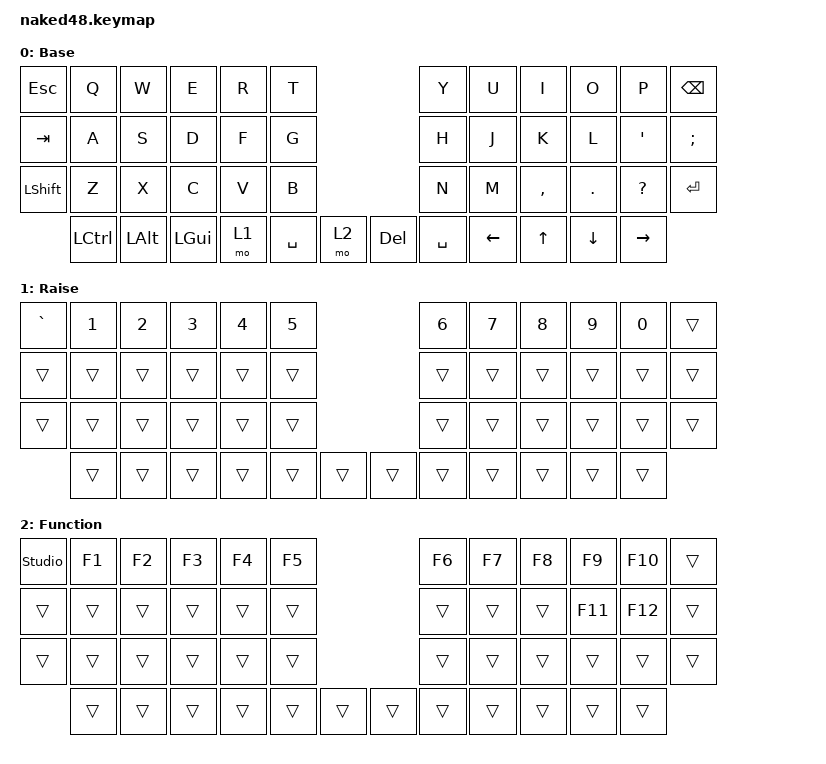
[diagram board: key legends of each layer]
#include <behaviors.dtsi>
#include <dt-bindings/zmk/keys.h>

/ {
    keymap {
        compatible = "zmk,keymap";

        default_layer { //0
            display-name = "Base";
            bindings = <
                &kp ESC   &kp Q     &kp W    &kp E    &kp R &kp T                 &kp Y      &kp U    &kp I     &kp O   &kp P     &kp BSPC
                &kp TAB   &kp A     &kp S    &kp D    &kp F &kp G                 &kp H      &kp J    &kp K     &kp L   &kp SQT   &kp SEMI
                &kp LSHFT &kp Z     &kp X    &kp C    &kp V &kp B                 &kp N      &kp M    &kp COMMA &kp DOT &kp QMARK &kp RET
                          &kp LCTRL &kp LALT &kp LGUI &mo 1 &kp SPACE &mo 2 &kp DEL &kp SPACE  &kp LEFT &kp UP    &kp DOWN &kp RIGHT 
            >;
        };
        raise { // 1
            display-name = "Raise";
            bindings = <
                &kp GRAVE &kp N1  &kp N2  &kp N3  &kp N4  &kp N5                  &kp N6  &kp N7  &kp N8  &kp N9  &kp N0  &trans
                &trans    &trans  &trans  &trans  &trans  &trans                  &trans  &trans  &trans  &trans  &trans  &trans
                &trans    &trans  &trans  &trans  &trans  &trans                  &trans  &trans  &trans  &trans  &trans  &trans
                          &trans  &trans  &trans  &trans  &trans  &trans  &trans  &trans  &trans  &trans  &trans  &trans
            >;
        };
        function { // 2
            display-name = "Function";
            bindings = <
                &studio_unlock &kp F1  &kp F2  &kp F3  &kp F4  &kp F5                  &kp F6  &kp F7  &kp F8  &kp F9   &kp F10 &trans
                &trans         &trans  &trans  &trans  &trans  &trans                  &trans  &trans  &trans  &kp F11  &kp F12 &trans
                &trans         &trans  &trans  &trans  &trans  &trans                  &trans  &trans  &trans  &trans   &trans  &trans
                               &trans  &trans  &trans  &trans  &trans  &trans  &trans  &trans  &trans  &trans  &trans   &trans
            >;
        };
    };
};
